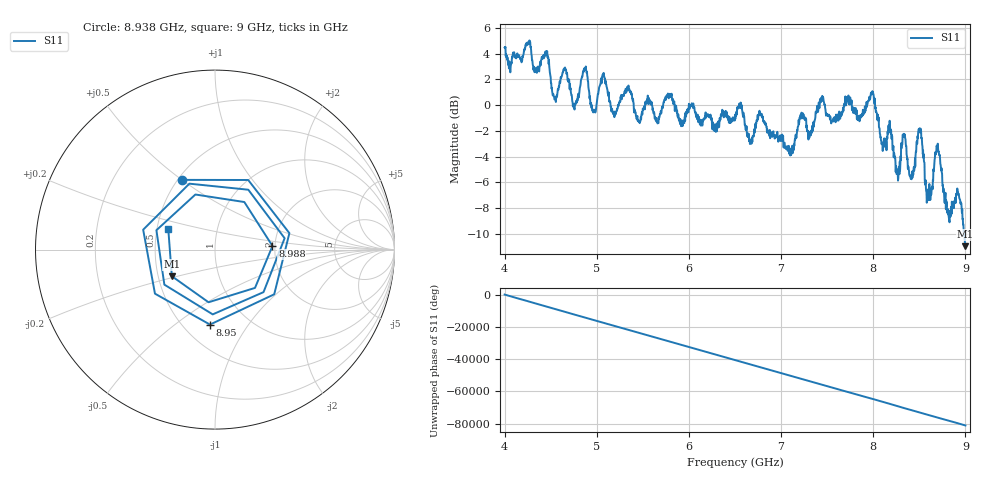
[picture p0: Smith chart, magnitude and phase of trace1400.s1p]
! Created with skrf 1.8.0 (http://scikit-rf.org).
# Hz S RI R 50.0
!freq ReS11 ImS11
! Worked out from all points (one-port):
!   1601 points, 4 GHz to 9 GHz, reference 50 ohm
!   lowest |S11| = -11.0 dB at 8.997 GHz (marker M1), VSWR 1.79, Z = 29.5 - j9.5 ohm
!   |S11| at or under -10 dB: 8.982975 GHz to 8.986048 GHz (3.073 MHz wide, 0.0342 % of centre); 8.989127 GHz to end of sweep
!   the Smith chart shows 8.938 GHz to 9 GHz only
!   S11 on the Smith chart (normalised r, x): 8.938 GHz: 0.52, +0.50; 8.95 GHz: 0.67, -0.68; 8.988 GHz: 1.94, +0.09; 9 GHz: 0.57, +0.14
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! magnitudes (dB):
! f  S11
! 4 GHz  4.5
! 4.45 GHz  4.1
! 4.544 GHz  0.4
! 4.625 GHz  2.4
! 4.759 GHz  -0.3
! 4.872 GHz  2.9
! 4.966 GHz  -0.4
! 5.066 GHz  2.4
! 5.25 GHz  0.3
! 5.875 GHz  -0.8
! 6.5 GHz  -0.7
! 7.125 GHz  -3.7
! 7.225 GHz  -1.0
! 7.75 GHz  0.6
! 7.991 GHz  1.1
! 8.259 GHz  -5.0
! 8.328 GHz  -2.4
! 8.375 GHz  -4.9
! 8.425 GHz  -5.7
! 8.506 GHz  -2.1
! 8.597 GHz  -7.4
! 8.697 GHz  -3.3
! 8.812 GHz  -8.5
! 8.938 GHz  -7.3
! 8.95 GHz  -7.6
! 8.988 GHz  -9.9
! 8.997 GHz  -11.0
! 9 GHz  -10.9
